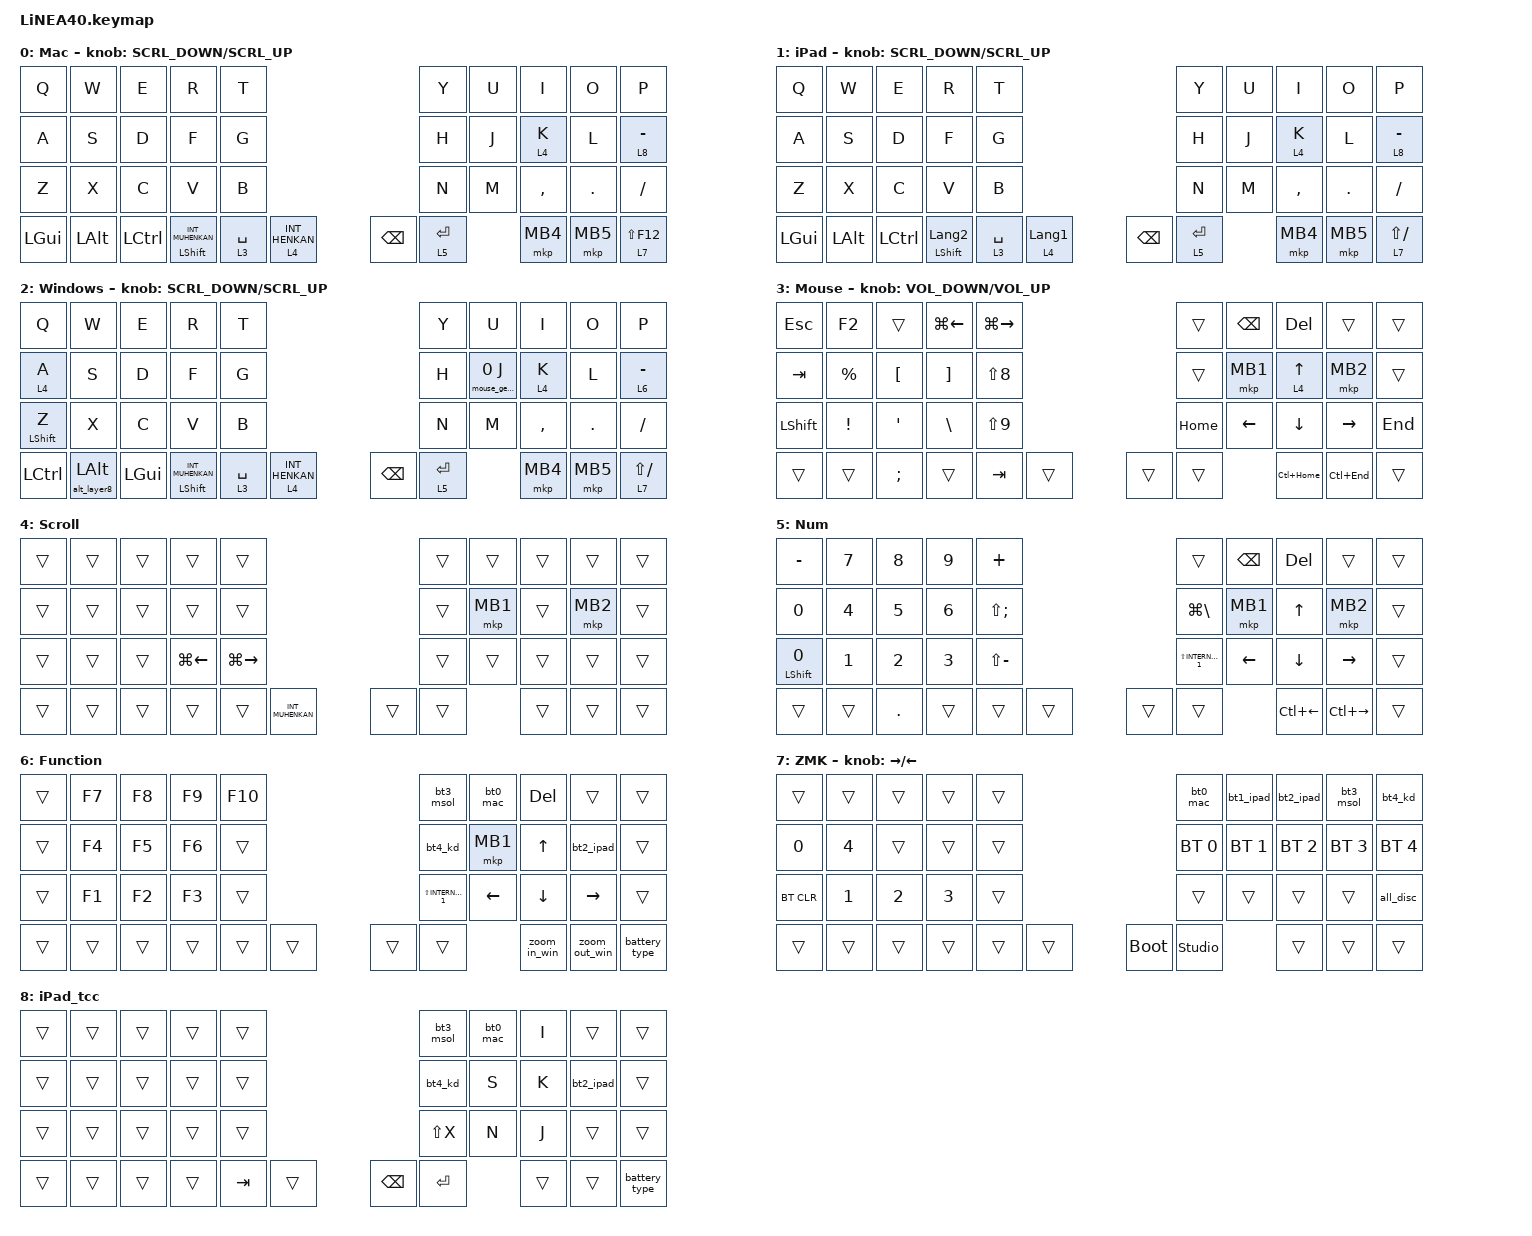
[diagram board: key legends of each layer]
#undef ZMK_POINTING_DEFAULT_SCRL_VAL

#define ZMK_POINTING_DEFAULT_SCRL_VAL 20

#include <scroll-snap.dtsi>
#include <input/processors.dtsi>
#include <dt-bindings/zmk/input_transform.h>
#include <mouse-gesture.dtsi>
#include <zephyr/dt-bindings/input/input-event-codes.h>
#include <behaviors.dtsi>
#include <dt-bindings/zmk/bt.h>
#include <dt-bindings/zmk/keys.h>
#include <dt-bindings/zmk/pointing.h>

#define MOUSE 3
#define SCROLL 4
#define FUNCTION 6
#define WIRELESS 7

/* スクロールスナップ設定 */

&zip_scroll_snap {
    x-threshold = <5 8>;
    y-threshold = <8 5>;
    xy-threshold = <5 8>;
    require-n-samples = <10>;
    immediate-snap-threshold = <1500>;
    lock-duration-ms = <200>;
    lock-for-next-n-events = <10>;
    idle-reset-timeout-ms = <200>;
};

/* マウスジェスチャー */

&zip_mouse_gesture {
    stroke-size = <150>;
    enable-eager-mode;

    history_back {
        pattern = <GESTURE_RIGHT>;
        bindings = <&kp LA(LEFT)>;
    };

    history_forward {
        pattern = <GESTURE_LEFT>;
        bindings = <&kp LA(RIGHT)>;
    };

    close_tab {
        pattern = <GESTURE_DOWN GESTURE_RIGHT>;
        bindings = <&kp LA(F4)>;
    };

    new_tab {
        pattern = <GESTURE_DOWN GESTURE_LEFT>;
        bindings = <&kp LC(T)>;
    };

    app_switcher {
        pattern = <GESTURE_DOWN GESTURE_UP>;
        bindings = <&kp LG(TAB)>;
    };

    virtual_desktop_prev {
        pattern = <GESTURE_LEFT GESTURE_DOWN>;
        bindings = <&kp LG(LC(LEFT))>;
    };

    virtual_desktop_next {
        pattern = <GESTURE_RIGHT GESTURE_DOWN>;
        bindings = <&kp LG(LC(RIGHT))>;
    };
};

//mouse cursol

&mmv {
    delay-ms = <20>;
    trigger-period-ms = <5>;
    time-to-max-speed-ms = <100>;
    acceleration-exponent = <2>;
};

//mouse scroll

&msc {
    delay-ms = <3>;
    trigger-period-ms = <3>;
    time-to-max-speed-ms = <100>;
    acceleration-exponent = <0>;
};

/ {
    input_processors {
        zip_wheel_scaler: zip_wheel_scaler {
            compatible = "zmk,input-processor-scaler";
            #input-processor-cells = <2>;
            type = <INPUT_EV_REL>;
            codes = <INPUT_REL_WHEEL INPUT_REL_HWHEEL>;
            track-remainders;
        };
    };
};

&msc_input_listener {
    speed_up {
        layers = <FUNCTION>;
        input-processors = <&zip_wheel_scaler 1 3>; //スクロールを3倍速にする
    };
};

// ---------------------------------------------------------------------------
// ズームボタン（2026-10-06 追加）
//
// 1回押すと1段階だけズームする。配置は ZMK Studio で各自行う
// （下の display-name が Studio の一覧に出る名前）。
//
// ■ Windows: 「Ctrl を押しながらホイールを1ノッチ」を出す
//   キーボードショートカット（Ctrl + = 等）は使わない。
//   - JIS 配列の OS では HID の EQUAL が「^」として届き、Ctrl + ^ になる
//   - テンキーの + / - は Excel でセルの挿入・削除になる
//   - Word には既定のズームショートカットが無い
//   Ctrl + ホイールなら、ブラウザ・Excel・Word・エクスプローラーすべてで
//   アプリ自身の最小単位で1段階ズームする。
//
// ■ Mac: ⌘ + テンキーの + / -
//   Mac の Ctrl + ホイールは画面全体の拡大（アクセシビリティ）でアプリのズームではない。
//   テンキーの + / - は JIS / US の配列に関係なく「+」「-」の文字になるため、
//   アプリの「⌘+」「⌘-」に一致する。
//   予備として ⌘ + Shift + ;（JIS 配列で「+」を出す組み合わせ）も用意した。
//   実機でどちらが効くか確認できたら、効かなかった方は消す。
//
// ■ C_AC_ZOOM_IN / C_AC_ZOOM_OUT（HID の「ズーム」キー）は使わない
//   ZMK のキーコード表（docs/src/data/hid.js:7407-7465）で動作確認済みなのは
//   Linux のみ。Windows / macOS / iOS は未確認、Android は非対応。
//   以前これを置いて反応しなかったのはこのため。
// ---------------------------------------------------------------------------

/ {
    behaviors {
        // ズーム専用のホイール。既存の &msc とは別にする。
        // &msc には独自の速度設定と、Function レイヤーで3倍にする倍率がかかっているため、
        // それを通すと1回あたりの量が決まらない。
        //
        // 1ノッチちょうどにする仕組み（behavior_input_two_axis.c:111-153 / 175-230）:
        //   押した瞬間には何も出さず、trigger-period-ms 後に初めて
        //   「速度 × trigger-period-ms / 1000」だけ出す。加速（acceleration-exponent）は 0。
        //   速度 10 × 100ms / 1000 = 1.0 ＝ ホイール値 1。
        //   次は 200ms 後なので、その前（150ms）に離せば1回だけで止まる。
        // ホイール値 1 ＝ Windows の1ノッチ（ZMK_POINTING_SMOOTH_SCROLLING が無効のため
        // 解像度倍率が無く、1 がそのまま1ノッチとして扱われる）。
        zoom_wheel: zoom_wheel {
            compatible = "zmk,behavior-input-two-axis";
            #binding-cells = <1>;
            // Studio の一覧にも出るが、直接キーに置くと Ctrl なしの単発スクロールになる。置かないこと。
            display-name = "(internal - do not assign) Zoom wheel";
            x-input-code = <INPUT_REL_HWHEEL>;
            y-input-code = <INPUT_REL_WHEEL>;
            trigger-period-ms = <100>;
            time-to-max-speed-ms = <0>;
            acceleration-exponent = <0>;
        };

        // macro_wait_time は「それ以降の各ステップの後に入る待ち時間」を変える
        // （behavior_macro.c:22-30）。マクロは1本の順番待ちに積まれるので、
        // 連打しても前の1回が終わってから次が動き、Ctrl やホイールが重ならない。
        //
        // 各ステップの後に入る待ち:
        //   Ctrl 押下 → 30ms → ホイール押下 → 150ms（＝ホイールを押し続ける時間）→
        //   ホイール解放 → 30ms → Ctrl 解放
        // ホイールの値は押してから 100ms 後に1回だけ出るので、Ctrl の約130ms後に届く。
        // キーボードとマウスの送信は別々の待ち列（hog.c:288 / hog.c:394）なので、
        // この間隔で「Ctrl が先に届く」順番を守る。
        zoom_in_win: zoom_in_win {
            compatible = "zmk,behavior-macro";
            #binding-cells = <0>;
            display-name = "Zoom In (Win)";
            bindings
                = <&macro_wait_time 30>
                , <&macro_press &kp LCTRL>
                , <&macro_wait_time 150>
                , <&macro_press &zoom_wheel MOVE_Y(10)>
                , <&macro_wait_time 30>
                , <&macro_release &zoom_wheel MOVE_Y(10)>
                , <&macro_release &kp LCTRL>
                ;
        };

        zoom_out_win: zoom_out_win {
            compatible = "zmk,behavior-macro";
            #binding-cells = <0>;
            display-name = "Zoom Out (Win)";
            bindings
                = <&macro_wait_time 30>
                , <&macro_press &kp LCTRL>
                , <&macro_wait_time 150>
                , <&macro_press &zoom_wheel MOVE_Y(-10)>
                , <&macro_wait_time 30>
                , <&macro_release &zoom_wheel MOVE_Y(-10)>
                , <&macro_release &kp LCTRL>
                ;
        };

        zoom_in_mac: zoom_in_mac {
            compatible = "zmk,behavior-macro";
            #binding-cells = <0>;
            display-name = "Zoom In (Mac)";
            bindings = <&macro_tap &kp LG(KP_PLUS)>;
        };

        zoom_out_mac: zoom_out_mac {
            compatible = "zmk,behavior-macro";
            #binding-cells = <0>;
            display-name = "Zoom Out (Mac)";
            bindings = <&macro_tap &kp LG(KP_MINUS)>;
        };

        // 予備: ⌘ + Shift + ;
        // JIS 配列では「+」は Shift + ; で出る。⌘ + ; だけだと「⌘;」になり ⌘+ に一致しない。
        zoom_in_mac_alt: zoom_in_mac_alt {
            compatible = "zmk,behavior-macro";
            #binding-cells = <0>;
            display-name = "Zoom In (Mac alt)";
            bindings = <&macro_tap &kp LG(LS(SEMI))>;
        };

        // iPad のアプリスイッチャー（🌐 + ↑）。🌐 は iPad 側で Caps Lock に割り当てる前提。
        // 詳細はコンボ app_switch_ipad のコメント参照。
        ipad_app_switcher: ipad_app_switcher {
            compatible = "zmk,behavior-macro";
            #binding-cells = <0>;
            display-name = "iPad App Switcher";
            bindings
                = <&macro_wait_time 30>
                , <&macro_press &kp CAPS>
                , <&macro_tap &kp UP_ARROW>
                , <&macro_release &kp CAPS>
                ;
        };
    };

    zoom_wheel_input_listener: zoom_wheel_input_listener {
        compatible = "zmk,input-listener";
        device = <&zoom_wheel>;
    };
};

&mouse_gesture_kp {
    tapping-term-ms = <200>;
    quick-tap-ms = <250>;
    flavor = "balanced";
};

&mouse_gesture_mkp {
    tapping-term-ms = <200>;
    quick-tap-ms = <250>;
    flavor = "balanced";
};

/ {
    battery_type: battery_type {
        compatible = "zmk,behavior-battery-type";
        #binding-cells = <0>;
    };
};

/ {
    combos {
        compatible = "zmk,combos";

        mb1 {
            bindings = <&mkp MB1>;
            key-positions = <16 17>;
            timeout-ms = <100>;
            layers = <0 1 2>;
        };

        mb2 {
            bindings = <&mkp MB2>;
            key-positions = <17 18>;
            timeout-ms = <100>;
            layers = <0 1 2>;
        };

        app_switch {
            bindings = <&kp F3>;
            key-positions = <18 19>;
            timeout-ms = <100>;
            layers = <0>;
        };

        // Windows 版の app_switch（2026-10-06 追加）。
        // 同じ L + - の同時押しで、Windows の「3本指で上にスワイプ」と同じタスクビューを開く。
        // コンボは「いちばん上で有効なレイヤー」で絞り込まれる（combo.c:128-153）ので、
        // Mac（0）では上の F3、Windows（2）ではこちらだけが候補になり、取り合わない。
        app_switch_win {
            bindings = <&kp LG(TAB)>;
            key-positions = <18 19>;
            timeout-ms = <100>;
            layers = <2>;
        };

        // iPad 版の app_switch（2026-10-13 追加）。
        // 同じ L + - の同時押しで、iPad の「下から上にスワイプして止める」と同じアプリスイッチャーを開く。
        // iPad のキー操作では 🌐（Globe）+ ↑。🌐 は Apple 純正キーボード専用のキーなので、
        // iPad 側で「設定 → 一般 → キーボード → ハードウェアキーボード → 修飾キー」の
        // Caps Lock を 🌐 Globe に割り当て、キーボードからは Caps Lock + ↑ を送る（&ipad_app_switcher）。
        // ※iPad 側の設定が無いと Caps Lock が入るだけになる（もう一度押せば戻る）。
        app_switch_ipad {
            bindings = <&ipad_app_switcher>;
            key-positions = <18 19>;
            timeout-ms = <100>;
            layers = <1>;
        };

        muhenkan {
            bindings = <&kp INT_MUHENKAN>;
            key-positions = <35 10>;
        };

        globe {
            bindings = <&kp F15>;
            key-positions = <18 17 16>;
            layers = <0>;
        };

        mac_sc {
            bindings = <&kp LG(LS(NUMBER_4))>;
            key-positions = <6 7>;
            layers = <0>;
        };

        mac_capture {
            bindings = <&kp LG(LS(NUMBER_4))>;
            key-positions = <32 11 33>;
            layers = <0>;
        };

        ast {
            bindings = <&noteplan_task>;
            key-positions = <26 27>;
            layers = <0>;
        };

        taskcomp {
            bindings = <&noteplan_taskcomp>;
            key-positions = <37 16 17>;
            layers = <0>;
        };
    };

    behaviors {
        re_kp: sensor_rotate_kp {
            compatible = "zmk,behavior-sensor-rotate-var";
            #sensor-binding-cells = <2>;
            bindings = <&kp>, <&kp>;
        };

        mouse_scrl: mouse_wheel_scrl {
            compatible = "zmk,behavior-sensor-rotate-var";
            #sensor-binding-cells = <2>;
            bindings = <&msc>, <&msc>;

            tap-ms = <20>;
        };

        tog_on: toggle_layer_on_only {
            compatible = "zmk,behavior-toggle-layer";
            #binding-cells = <1>;
        };

        tog_off: toggle_layer_off_only {
            compatible = "zmk,behavior-toggle-layer";
            #binding-cells = <1>;
            toggle-mode = "off";
        };

        td_mhenkan: tap_dance_mhenkan {
            compatible = "zmk,behavior-tap-dance";
            label = "TD_MHENKAN";
            #binding-cells = <0>;

            // ダブルタップ判定時間（お好みで）

            tapping-term-ms = <220>;

            // 1タップ → 無変換, 2タップ → 変換

            bindings = <
                &kp INT_MUHENKAN
                &kp INT_HENKAN
            >;
        };

        /* ここから追加：ホールドでレイヤー + タップで上のタップダンス */

        lt_mhenkan: layer_tap_mhenkan {
            compatible = "zmk,behavior-hold-tap";
            label = "LAYER_TAP_MHENKAN";

            // ※ hold-tap は #binding-cells = <2> 固定

            #binding-cells = <2>;
            flavor = "tap-preferred";
            tapping-term-ms = <180>;
            quick-tap-ms = <0>;

            // hold側: &mo (レイヤー一時有効)
            // tap側: さっきの tap-dance

            bindings = <&mo>, <&td_mhenkan>;
        };

        /*
         * Windows レイヤーの Z 用 mod-tap。
         * 標準の &mt は flavor = "hold-preferred" のため、
         * 「他のキーが押された瞬間、経過時間に関係なく Shift 確定」してしまい、
         * 「ざ・ず・ぞ」など Z の直後に母音を高速で打つと Shift+母音 に化けていた。
         *
         * tap-preferred は「経過時間だけ」で hold/tap を決めるので、
         * 何を続けて押しても tapping-term-ms を超えるまでは必ず Z になる。
         *
         * Shift が出しにくい / 出やすすぎると感じたら tapping-term-ms だけ調整する。
         */

        z_shift: z_shift {
            compatible = "zmk,behavior-hold-tap";
            label = "Z_SHIFT";
            #binding-cells = <2>;
            flavor = "tap-preferred";
            tapping-term-ms = <300>;

            // 1回目の押下から 200ms 以内に同じキーを押し直したら必ず Z（zz の連打対策）
            // ※ 基準は「離してから」ではなく「最初に押してから」

            quick-tap-ms = <200>;
            bindings = <&kp>, <&kp>;
        };

        alt8_ht: alt8_hold_tap {
            compatible = "zmk,behavior-hold-tap";
            label = "ALT8_HOLD_TAP";
            #binding-cells = <2>;
            flavor = "hold-preferred";
            tapping-term-ms = <200>;
            quick-tap-ms = <0>;

            // hold 側: Alt+Layer8 マクロ
            // tap 側: 通常の &kp

            bindings = <&alt_layer8>, <&kp>;
        };
    };

    macros {
        bt0_mac: bt0_mac {
            compatible = "zmk,behavior-macro";
            #binding-cells = <0>;
            bindings =
                <&tog_off 0 &tog_off 1 &tog_off 2>,
                <&macro_wait_time 200>,
                <&bt BT_SEL 0>,
                <&macro_wait_time 500>,
                <&tog_on 0>;

            label = "BT0_MAC";
        };

        bt1_ipad: bt1_ipad {
            compatible = "zmk,behavior-macro";
            #binding-cells = <0>;
            bindings =
                <&tog_off 0 &tog_off 1 &tog_off 2>,
                <&macro_wait_time 200>,
                <&bt BT_SEL 1>,
                <&macro_wait_time 500>,
                <&tog_on 1>;

            label = "BT1_IPAD";
        };

        bt2_ipad: bt2_ipad {
            compatible = "zmk,behavior-macro";
            #binding-cells = <0>;
            bindings =
                <&tog_off 0 &tog_off 1 &tog_off 2>,
                <&macro_wait_time 200>,
                <&bt BT_SEL 2>,
                <&macro_wait_time 500>,
                <&tog_on 1>;

            label = "BT2_IPAD";
        };

        bt3_msol: bt3_msoll_ {
            compatible = "zmk,behavior-macro";
            #binding-cells = <0>;
            bindings =
                <&tog_off 0 &tog_off 1 &tog_off 2>,
                <&macro_wait_time 200>,
                <&bt BT_SEL 3>,
                <&macro_wait_time 500>,
                <&tog_on 2>;

            label = "BT3_MSOLL_";
        };

        bt4_kd: bt4_kd {
            compatible = "zmk,behavior-macro";
            #binding-cells = <0>;
            bindings =
                <&tog_off 0 &tog_off 1 &tog_off 2>,
                <&macro_wait_time 200>,
                <&bt BT_SEL 4>,
                <&macro_wait_time 500>,
                <&tog_on 2>;

            label = "BT4_KD";
        };

        all_disc: all_disc {
            compatible = "zmk,behavior-macro";
            #binding-cells = <0>;
            bindings = <&bt BT_DISC 0 &bt BT_DISC 1 &bt BT_DISC 2 &bt BT_DISC 3 &bt BT_DISC 4>;
            label = "ALL_DISC";
        };

        alt_layer8: alt_layer8 {
            compatible = "zmk,behavior-macro";
            #binding-cells = <0>;
            wait-ms = <0>;
            tap-ms = <0>;

            // 押したときに layer8 + LEFT_ALT を押し、
            // 離したときに両方離す

            bindings =
                <&macro_press>,
                <&mo 8 &kp LEFT_ALT>,
                <&macro_pause_for_release>,
                <&macro_release>,
                <&mo 8 &kp LEFT_ALT>;
        };

        noteplan_task: noteplan_task {
            compatible = "zmk,behavior-macro";
            #binding-cells = <0>;
            bindings = <&kp LS(APOS) &kp SPACE>;
            label = "NOTEPLAN_TASK";
        };

        noteplan_taskcomp: noteplan_taskcomp {
            compatible = "zmk,behavior-macro";
            #binding-cells = <0>;
            bindings =
                <&macro_press>,
                <&kp LEFT_GUI>,
                <&macro_tap>,
                <&mkp MB1>,
                <&macro_release>,
                <&kp LEFT_GUI>;

            label = "NOTEPLAN_TASKCOMP";
        };
    };

    keymap {
        compatible = "zmk,keymap";

        Mac {
            bindings = <
&kp Q         &kp W         &kp E             &kp R                        &kp T                                           &kp Y        &kp U  &kp I      &kp O     &kp P
&kp A         &kp S         &kp D             &kp F                        &kp G                                           &kp H        &kp J  &lt 4 K    &kp L     &lt 8 MINUS
&kp Z         &kp X         &kp C             &kp V                        &kp B                                           &kp N        &kp M  &kp COMMA  &kp DOT   &kp SLASH
&kp LEFT_GUI  &kp LEFT_ALT  &kp LEFT_CONTROL  &mt LEFT_SHIFT INT_MUHENKAN  &lt 3 SPACE  &lt 4 INT_HENKAN    &kp BACKSPACE  &lt 5 ENTER         &mkp MB4   &mkp MB5  &lt 7 LS(F12)
            >;

            sensor-bindings = <&mouse_scrl SCRL_DOWN SCRL_UP>;
        };

        iPad {
            bindings = <
&kp Q         &kp W         &kp E             &kp R                      &kp T                                           &kp Y        &kp U  &kp I      &kp O     &kp P
&kp A         &kp S         &kp D             &kp F                      &kp G                                           &kp H        &kp J  &lt 4 K    &kp L     &lt 8 MINUS
&kp Z         &kp X         &kp C             &kp V                      &kp B                                           &kp N        &kp M  &kp COMMA  &kp DOT   &kp SLASH
&kp LEFT_GUI  &kp LEFT_ALT  &kp LEFT_CONTROL  &mt LEFT_SHIFT LANGUAGE_2  &lt 3 SPACE  &lt 4 LANGUAGE_1    &kp BACKSPACE  &lt 5 ENTER         &mkp MB4   &mkp MB5  &lt 7 LS(SLASH)
            >;

            sensor-bindings = <&mouse_scrl SCRL_DOWN SCRL_UP>;
        };

        Windows {
            bindings = <
&kp Q                  &kp W                &kp E         &kp R                        &kp T                                           &kp Y        &kp U                  &kp I      &kp O     &kp P
&lt 4 A                &kp S                &kp D         &kp F                        &kp G                                           &kp H        &mouse_gesture_kp 0 J  &lt 4 K    &kp L     &lt 6 MINUS
&z_shift LEFT_SHIFT Z  &kp X                &kp C         &kp V                        &kp B                                           &kp N        &kp M                  &kp COMMA  &kp DOT   &kp SLASH
&kp LEFT_CONTROL       &alt8_ht 0 LEFT_ALT  &kp LEFT_GUI  &mt LEFT_SHIFT INT_MUHENKAN  &lt 3 SPACE  &lt 4 INT_HENKAN    &kp BACKSPACE  &lt 5 ENTER                         &mkp MB4   &mkp MB5  &lt 7 LS(SLASH)
            >;

            sensor-bindings = <&mouse_scrl SCRL_DOWN SCRL_UP>;
        };

        Mouse {
            bindings = <
&kp ESCAPE      &kp F2           &trans            &kp LG(LEFT_ARROW)  &kp LG(RIGHT_ARROW)                    &trans    &kp BACKSPACE   &kp DELETE      &trans           &trans
&kp TAB         &kp PERCENT      &kp LEFT_BRACKET  &kp RIGHT_BRACKET   &kp LS(N8)                             &trans    &mkp MB1        &lt 4 UP_ARROW  &mkp MB2         &trans
&kp LEFT_SHIFT  &kp EXCLAMATION  &kp APOS          &kp BACKSLASH       &kp LS(N9)                             &kp HOME  &kp LEFT_ARROW  &kp DOWN_ARROW  &kp RIGHT_ARROW  &kp END
&trans          &trans           &kp SEMI          &trans              &kp TAB              &trans    &trans  &trans                    &kp LC(HOME)    &kp LC(END)      &trans
            >;

            sensor-bindings = <&re_kp C_VOLUME_DOWN C_VOLUME_UP>;
        };

        Scroll {
            bindings = <
&trans  &trans  &trans  &trans              &trans                                           &trans  &trans    &trans  &trans    &trans
&trans  &trans  &trans  &trans              &trans                                           &trans  &mkp MB1  &trans  &mkp MB2  &trans
&trans  &trans  &trans  &kp LG(LEFT_ARROW)  &kp LG(RIGHT_ARROW)                              &trans  &trans    &trans  &trans    &trans
&trans  &trans  &trans  &trans              &trans               &kp INT_MUHENKAN    &trans  &trans            &trans  &trans    &trans
            >;
        };

        Num {
            bindings = <
&kp MINUS          &kp NUMBER_7  &kp NUMBER_8  &kp NUMBER_9  &kp PLUS                         &trans                   &kp BACKSPACE   &kp DELETE    &trans           &trans
&kp NUMBER_0       &kp NUMBER_4  &kp NUMBER_5  &kp NUMBER_6  &kp LS(SEMI)                     &kp LG(BACKSLASH)        &mkp MB1        &kp UP_ARROW  &mkp MB2         &trans
&mt LEFT_SHIFT N0  &kp NUMBER_1  &kp NUMBER_2  &kp NUMBER_3  &kp LS(MINUS)                    &kp LS(INTERNATIONAL_1)  &kp LEFT_ARROW  &kp DOWN      &kp RIGHT_ARROW  &trans
&trans             &trans        &kp PERIOD    &trans        &trans         &trans    &trans  &trans                                   &kp LC(LEFT)  &kp LC(RIGHT)    &trans
            >;
        };

        Function {
            bindings = <
&trans  &kp F7  &kp F8  &kp F9  &kp F10                    &bt3_msol                &bt0_mac        &kp DELETE    &trans           &trans
&trans  &kp F4  &kp F5  &kp F6  &trans                     &bt4_kd                  &mkp MB1        &kp UP_ARROW  &bt2_ipad        &trans
&trans  &kp F1  &kp F2  &kp F3  &trans                     &kp LS(INTERNATIONAL_1)  &kp LEFT_ARROW  &kp DOWN      &kp RIGHT_ARROW  &trans
&trans  &trans  &trans  &trans  &trans   &trans    &trans  &trans                                   &zoom_in_win  &zoom_out_win  &battery_type
            >;
        };

        ZMK {
            bindings = <
&trans      &trans        &trans        &trans        &trans                         &bt0_mac        &bt1_ipad     &bt2_ipad     &bt3_msol     &bt4_kd
&kp N0      &kp NUMBER_4  &trans        &trans        &trans                         &bt BT_SEL 0    &bt BT_SEL 1  &bt BT_SEL 2  &bt BT_SEL 3  &bt BT_SEL 4
&bt BT_CLR  &kp NUMBER_1  &kp NUMBER_2  &kp NUMBER_3  &trans                         &trans          &trans        &trans        &trans        &all_disc
&trans      &trans        &trans        &trans        &trans  &trans    &bootloader  &studio_unlock                &trans        &trans        &trans
            >;

            sensor-bindings = <&inc_dec_kp RIGHT_ARROW LEFT_ARROW>;
        };

        iPad_tcc {
            bindings = <
&trans  &trans  &trans  &trans  &trans                            &bt3_msol  &bt0_mac  &kp I   &trans     &trans
&trans  &trans  &trans  &trans  &trans                            &bt4_kd    &kp S     &kp K   &bt2_ipad  &trans
&trans  &trans  &trans  &trans  &trans                            &kp LS(X)  &kp N     &kp J   &trans     &trans
&trans  &trans  &trans  &trans  &kp TAB  &trans    &kp BACKSPACE  &kp ENTER            &trans  &trans     &battery_type
            >;
        };
    };
};
